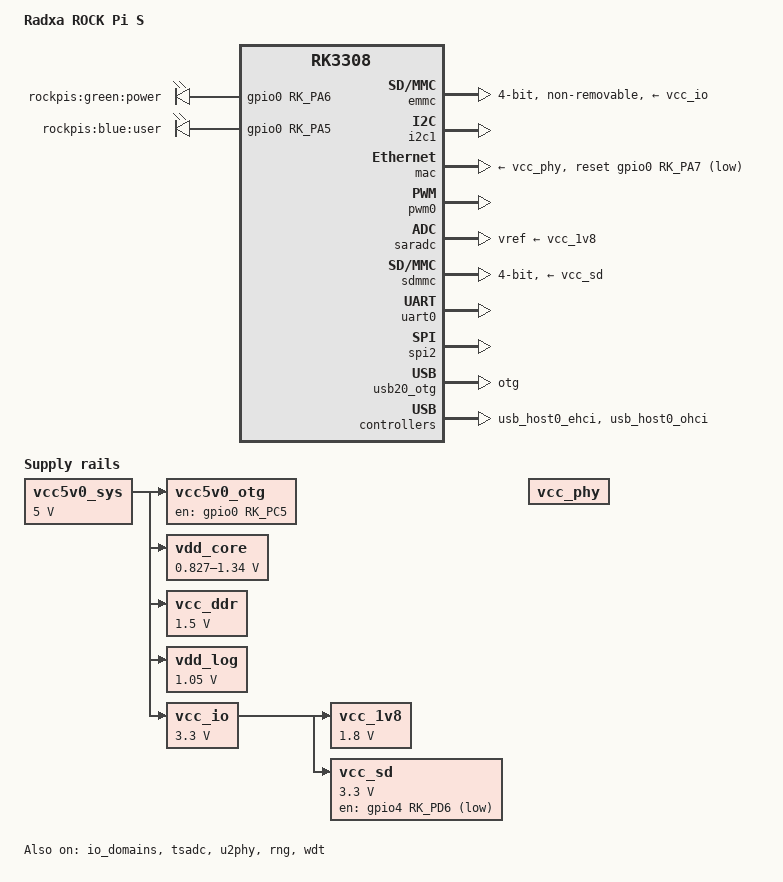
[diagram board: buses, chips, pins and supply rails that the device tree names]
// SPDX-License-Identifier: (GPL-2.0+ OR MIT)
/*
 * Copyright (c) 2019 Akash Gajjar <akash@openedev.com>
 * Copyright (c) 2019 Jagan Teki <jagan@openedev.com>
 * Copyright (c) 2022 Anton Kikin <a.kikin@tano-systems.com>
 */

/dts-v1/;

#include "rk3308.dtsi"

/ {
	model = "Radxa ROCK Pi S";
	compatible = "radxa,rock-pi-s", "rockchip,rk3308";
	dtb-revision = "20220619.1";

	aliases {
		mmc0 = &emmc;
		mmc1 = &sdmmc;
	};

	chosen {
		stdout-path = "serial0:1500000n8";
	};

	leds {
		compatible = "gpio-leds";
		pinctrl-names = "default";
		pinctrl-0 = <&green_led_gpio>, <&heartbeat_led_gpio>;

		green-led {
			label = "rockpis:green:power";
			gpios = <&gpio0 RK_PA6 GPIO_ACTIVE_HIGH>;
			linux,default-trigger = "default-on";
			default-state = "on";
		};

		blue-led {
			label = "rockpis:blue:user";
			gpios = <&gpio0 RK_PA5 GPIO_ACTIVE_HIGH>;
			default-state = "on";
			linux,default-trigger = "heartbeat";
		};
	};

	vcc5v0_sys: vcc5v0-sys {
		compatible = "regulator-fixed";
		regulator-name = "vcc5v0_sys";
		regulator-always-on;
		regulator-boot-on;
		regulator-min-microvolt = <5000000>;
		regulator-max-microvolt = <5000000>;
	};

	vcc5v0_otg: vcc5v0-otg {
		compatible = "regulator-fixed";
		regulator-name = "vcc5v0_otg";
		regulator-always-on;
		gpio = <&gpio0 RK_PC5 GPIO_ACTIVE_HIGH>;
		enable-active-high;
		pinctrl-names = "default";
		pinctrl-0 = <&otg_vbus_drv>;
		vin-supply = <&vcc5v0_sys>;
	};

	vdd_core: vdd-core {
		compatible = "pwm-regulator";
		pwms = <&pwm0 0 5000 1>;
		regulator-name = "vdd_core";
		regulator-min-microvolt = <827000>;
		regulator-max-microvolt = <1340000>;
		regulator-init-microvolt = <1015000>;
		regulator-settling-time-up-us = <250>;
		regulator-always-on;
		regulator-boot-on;
		pwm-supply = <&vcc5v0_sys>;
	};

	vcc_ddr: vcc-ddr {
		compatible = "regulator-fixed";
		regulator-name = "vcc_ddr";
		regulator-always-on;
		regulator-boot-on;
		regulator-min-microvolt = <1500000>;
		regulator-max-microvolt = <1500000>;
		vin-supply = <&vcc5v0_sys>;
	};

	vdd_log: vdd-log {
		compatible = "regulator-fixed";
		regulator-name = "vdd_log";
		regulator-always-on;
		regulator-boot-on;
		regulator-min-microvolt = <1050000>;
		regulator-max-microvolt = <1050000>;
		vin-supply = <&vcc5v0_sys>;
	};

	vcc_io: vcc-io {
		compatible = "regulator-fixed";
		regulator-name = "vcc_io";
		regulator-always-on;
		regulator-boot-on;
		regulator-min-microvolt = <3300000>;
		regulator-max-microvolt = <3300000>;
		vin-supply = <&vcc5v0_sys>;
	};

	vcc_1v8: vcc-1v8 {
		compatible = "regulator-fixed";
		regulator-name = "vcc_1v8";
		regulator-always-on;
		regulator-boot-on;
		regulator-min-microvolt = <1800000>;
		regulator-max-microvolt = <1800000>;
		vin-supply = <&vcc_io>;
	};

	vcc_phy: vcc-phy-regulator {
		compatible = "regulator-fixed";
		regulator-name = "vcc_phy";
		regulator-always-on;
		regulator-boot-on;
	};

	vcc_sd: vcc-sd {
		compatible = "regulator-fixed";
		gpio = <&gpio4 RK_PD6 GPIO_ACTIVE_LOW>;
		regulator-name = "vcc_sd";
		regulator-min-microvolt = <3300000>;
		regulator-max-microvolt = <3300000>;
		regulator-always-on;
		regulator-boot-on;
		vin-supply = <&vcc_io>;
	};
};

&cpu0 {
	cpu-supply = <&vdd_core>;
};

&cpu0_opp_table {
	opp-1200000000 {
		status = "okay";
	};
	opp-1296000000 {
		status = "okay";
	};
};

&dmc {
	center-supply = <&vdd_log>;
	status = "disabled";
};

&io_domains {
	vccio0-supply = <&vcc_io>;
	vccio1-supply = <&vcc_io>;
	vccio2-supply = <&vcc_io>;
	vccio3-supply = <&vcc_io>;
	vccio4-supply = <&vcc_1v8>;
	vccio5-supply = <&vcc_io>;
	status = "okay";
};

&emmc {
	bus-width = <4>;
	cap-mmc-highspeed;
	supports-sd;
	disable-wp;
	non-removable;
	num-slots = <1>;
	pinctrl-names = "default";
	pinctrl-0 = <&emmc_clk &emmc_cmd &emmc_bus4>;
	vmmc-supply = <&vcc_io>;
	status = "okay";
};

&i2c1 {
	status = "okay";
};

&mac {
	assigned-clocks = <&cru SCLK_MAC>;
	assigned-clock-parents = <&cru SCLK_MAC_SRC>;
	clock_in_out = "output";
	phy-supply = <&vcc_phy>;
	snps,reset-gpio = <&gpio0 RK_PA7 GPIO_ACTIVE_LOW>;
	snps,reset-active-low;
	snps,reset-delays-us = <0 50000 50000>;
	tx_delay = <0x4f>;
	rx_delay = <0x25>;
	status = "okay";
};

&pinctrl {
	pinctrl-names = "default";
	pinctrl-0 = <&rtc_32k>;

	leds {
		green_led_gpio: green-led-gpio {
			rockchip,pins = <0 RK_PA6 RK_FUNC_GPIO &pcfg_pull_none>;
		};

		heartbeat_led_gpio: heartbeat-led-gpio {
			rockchip,pins = <0 RK_PA5 RK_FUNC_GPIO &pcfg_pull_none>;
		};
	};

	usb {
		otg_vbus_drv: otg-vbus-drv {
			rockchip,pins = <0 RK_PC5 RK_FUNC_GPIO &pcfg_pull_none>;
		};
	};
};

&pwm0 {
	pinctrl-0 = <&pwm0_pin_pull_down>;
	status = "okay";
};

&saradc {
	vref-supply = <&vcc_1v8>;
	status = "okay";
};

&tsadc {
	rockchip,hw-tshut-mode = <0>; // tshut mode 0:CRU 1:GPIO
	rockchip,hw-tshut-polarity = <1>; // tshut polarity 0:LOW 1:HIGH
	status = "okay";
};

&sdmmc {
	max-frequency = <50000000>;
	bus-width = <4>;
	cap-mmc-highspeed;
	cap-sd-highspeed;
	supports-sd;
	disable-wp;
	pinctrl-names = "default";
	pinctrl-0 = <&sdmmc_clk &sdmmc_cmd &sdmmc_det &sdmmc_bus4>;
	card-detect-delay = <800>;
	vmmc-supply = <&vcc_sd>;
	sd-uhs-sdr25;
	sd-uhs-sdr50;
	sd-uhs-sdr104;
	status = "okay";
};


&uart0 {
	pinctrl-names = "default";
	pinctrl-0 = <&uart0_xfer>;
	status = "okay";
};

&spi2 {
	max-freq = <10000000>;
	status = "okay";
};

&uart2 {
	pinctrl-names = "default";
	pinctrl-0 = <&uart2m0_xfer>;
	status = "disabled";
};

&u2phy {
	status = "okay";

	u2phy_host: host-port {
		phy-supply = <&vcc5v0_otg>;
		status = "okay";
	};

	u2phy_otg: otg-port {
		vbus-supply = <&vcc5v0_otg>;
		status = "okay";
	};
};

&usb20_otg {
	dr_mode = "otg";
	status = "okay";
};

&usb_host0_ehci {
	status = "okay";
};

&usb_host0_ohci {
	status = "okay";
};

&rng {
	status = "okay";
};

&wdt {
	status = "okay";
};

&fiq_debugger {
	status = "disabled";
};
